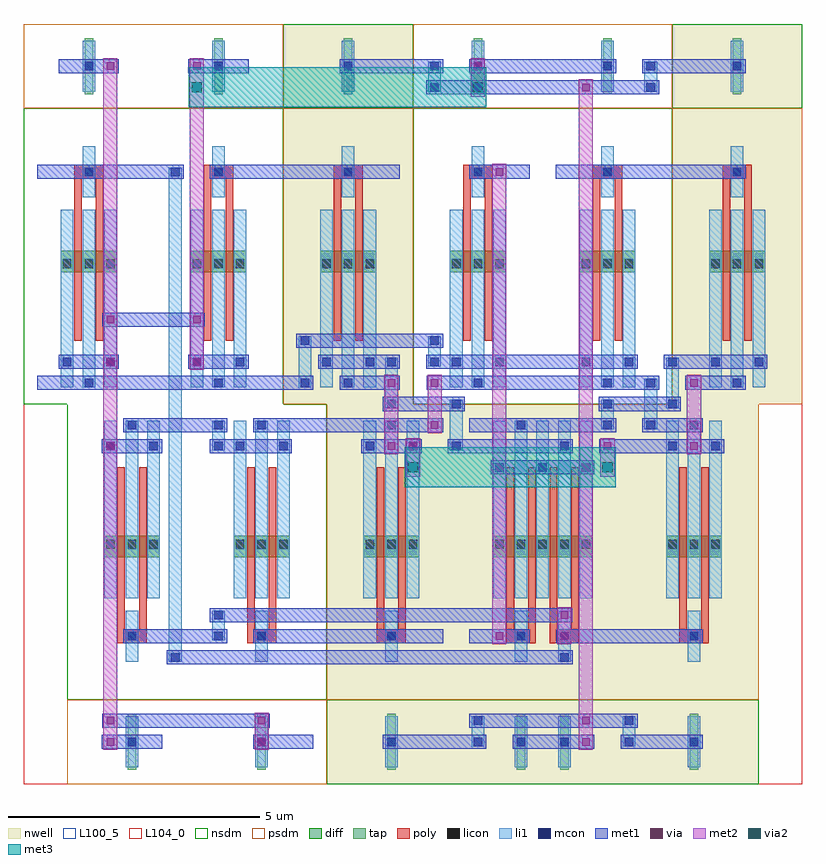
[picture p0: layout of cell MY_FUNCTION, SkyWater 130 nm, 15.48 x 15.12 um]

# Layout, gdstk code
import gdstk
lib = gdstk.Library(unit=1e-6, precision=1e-09)
def R(c, l, rs):  # rectangles x0, y0, x1, y1
    for r in rs: c.add(gdstk.rectangle(r[:2], r[2:], *l))
def A(c, l, x, y, w, h, nx, ny, dx, dy):  # array of equal rectangles
    R(c, l, [(x+i*dx, y+j*dy, x+i*dx+w, y+j*dy+h) for i in range(nx) for j in range(ny)])
nwell = (64, 20)
diff = (65, 20)
tap = (65, 44)
poly = (66, 20)
licon = (66, 44)
li1 = (67, 20)
mcon = (67, 44)
met1 = (68, 20)
via = (68, 44)
met2 = (69, 20)
via2 = (69, 44)
met3 = (70, 20)
nsdm = (93, 44)
psdm = (94, 20)
L100_5 = (100, 5)
L104_0 = (104, 0)

my_function = lib.new_cell('MY_FUNCTION')
R(my_function, nwell, [(6.02,0,8.6,7.56), (8.6,0,12.04,7.56), (12.04,0,14.62,7.56), (5.16,7.56,7.74,15.12), (12.9,7.56,15.48,15.12)])
A(my_function, diff, 1.595, 4.515, 1.11, 0.42, 3, 1, 2.58, 0)
A(my_function, diff, 0.735, 10.185, 1.11, 0.42, 6, 1, 2.58, 0)
R(my_function, diff, [(9.335,4.515,11.305,4.935), (12.775,4.515,13.885,4.935)])
A(my_function, tap, 2.065, 0.28, 0.17, 1.12, 4, 1, 2.58, 0)
A(my_function, tap, 1.205, 13.72, 0.17, 1.12, 6, 1, 2.58, 0)
R(my_function, tap, [(10.665,0.28,10.835,1.4), (13.245,0.28,13.415,1.4)])
A(my_function, poly, 1.86, 2.805, 0.58, 0.27, 4, 1, 2.58, 0)
A(my_function, poly, 9.6, 2.94, 0.15, 3.36, 4, 1, 0.43, 0)
A(my_function, poly, 1, 12.045, 0.58, 0.27, 6, 1, 2.58, 0)
R(my_function, poly, [(10.46,2.805,11.04,3.075), (13.04,2.805,13.62,3.075), (1.86,2.94,2.01,6.3), (2.29,2.94,2.44,6.3), (4.44,2.94,4.59,6.3), (4.87,2.94,5.02,6.3), (7.02,2.94,7.17,6.3), (7.45,2.94,7.6,6.3), (13.04,2.94,13.19,6.3), (13.47,2.94,13.62,6.3), (1,8.82,1.15,12.18), (1.43,8.82,1.58,12.18), (3.58,8.82,3.73,12.18), (4.01,8.82,4.16,12.18), (6.16,8.82,6.31,12.18), (6.59,8.82,6.74,12.18), (8.74,8.82,8.89,12.18), (9.17,8.82,9.32,12.18), (11.32,8.82,11.47,12.18), (11.75,8.82,11.9,12.18), (13.9,8.82,14.05,12.18), (14.33,8.82,14.48,12.18)])
A(my_function, licon, 2.065, 0.755, 0.17, 0.17, 4, 2, 2.58, 2.1)
A(my_function, licon, 1.635, 4.685, 0.17, 0.17, 3, 1, 0.43, 0)
A(my_function, licon, 4.215, 4.685, 0.17, 0.17, 3, 1, 0.43, 0)
A(my_function, licon, 6.795, 4.685, 0.17, 0.17, 3, 1, 0.43, 0)
A(my_function, licon, 9.375, 4.685, 0.17, 0.17, 3, 1, 0.43, 0)
A(my_function, licon, 10.235, 4.685, 0.17, 0.17, 3, 1, 0.43, 0)
A(my_function, licon, 12.815, 4.685, 0.17, 0.17, 3, 1, 0.43, 0)
A(my_function, licon, 0.775, 10.265, 0.17, 0.17, 3, 1, 0.43, 0)
A(my_function, licon, 3.355, 10.265, 0.17, 0.17, 3, 1, 0.43, 0)
A(my_function, licon, 5.935, 10.265, 0.17, 0.17, 3, 1, 0.43, 0)
A(my_function, licon, 8.515, 10.265, 0.17, 0.17, 3, 1, 0.43, 0)
A(my_function, licon, 11.095, 10.265, 0.17, 0.17, 3, 1, 0.43, 0)
A(my_function, licon, 13.675, 10.265, 0.17, 0.17, 3, 1, 0.43, 0)
A(my_function, licon, 1.205, 12.095, 0.17, 0.17, 6, 2, 2.58, 2.1)
R(my_function, licon, [(10.665,0.755,10.835,0.925), (13.245,0.755,13.415,0.925), (10.665,2.855,10.835,3.025), (13.245,2.855,13.415,3.025)])
A(my_function, li1, 2.025, 0.335, 0.25, 1.01, 4, 2, 2.58, 2.1)
A(my_function, li1, 1.595, 3.695, 0.25, 3.53, 3, 1, 0.43, 0)
A(my_function, li1, 4.175, 3.695, 0.25, 3.53, 3, 1, 0.43, 0)
A(my_function, li1, 6.755, 3.695, 0.25, 3.53, 3, 1, 0.43, 0)
A(my_function, li1, 9.335, 3.695, 0.25, 3.53, 5, 1, 0.43, 0)
A(my_function, li1, 12.775, 3.695, 0.25, 3.53, 3, 1, 0.43, 0)
A(my_function, li1, 0.735, 7.895, 0.25, 3.53, 3, 1, 0.43, 0)
A(my_function, li1, 3.315, 7.895, 0.25, 3.53, 3, 1, 0.43, 0)
A(my_function, li1, 5.895, 7.895, 0.25, 3.53, 3, 1, 0.43, 0)
A(my_function, li1, 8.475, 7.895, 0.25, 3.53, 3, 1, 0.43, 0)
A(my_function, li1, 11.055, 7.895, 0.25, 3.53, 3, 1, 0.43, 0)
A(my_function, li1, 13.635, 7.895, 0.25, 3.53, 3, 1, 0.43, 0)
A(my_function, li1, 1.165, 11.675, 0.25, 1.01, 6, 2, 2.58, 2.1)
R(my_function, li1, [(10.625,0.335,10.875,1.345), (13.205,0.335,13.455,1.345), (8.905,0.755,9.155,1.345), (11.915,0.755,12.165,1.345), (2.885,2.435,3.135,12.265), (10.625,2.435,10.875,3.445), (13.205,2.435,13.455,3.445), (3.745,2.855,3.995,3.445), (3.745,6.635,3.995,7.225), (8.475,6.635,8.725,7.645), (11.485,7.055,11.735,7.645), (12.345,7.055,12.595,8.065), (7.185,7.475,7.435,8.485), (12.775,7.475,13.025,8.485), (5.465,7.895,5.715,8.905), (8.045,8.315,8.295,8.905), (8.045,13.775,8.295,14.365), (12.345,13.775,12.595,14.365)])
A(my_function, mcon, 2.065, 0.755, 0.17, 0.17, 3, 1, 2.58, 0)
A(my_function, mcon, 8.945, 0.755, 0.17, 0.17, 3, 1, 0.86, 0)
A(my_function, mcon, 4.645, 2.855, 0.17, 0.17, 3, 2, 2.58, 4.2)
A(my_function, mcon, 9.375, 6.215, 0.17, 0.17, 3, 1, 0.86, 0)
A(my_function, mcon, 6.795, 6.635, 0.17, 0.17, 3, 1, 0.86, 0)
A(my_function, mcon, 11.525, 7.055, 0.17, 0.17, 3, 1, 0.86, 0)
A(my_function, mcon, 6.365, 7.895, 0.17, 0.17, 3, 1, 2.58, 0)
A(my_function, mcon, 11.095, 8.315, 0.17, 0.17, 5, 1, 0.86, 0)
A(my_function, mcon, 3.785, 12.095, 0.17, 0.17, 5, 1, 2.58, 0)
A(my_function, mcon, 1.205, 14.195, 0.17, 0.17, 3, 1, 2.58, 0)
R(my_function, mcon, [(11.955,0.755,12.125,0.925), (13.245,0.755,13.415,0.925), (8.945,1.175,9.115,1.345), (11.955,1.175,12.125,1.345), (2.925,2.435,3.095,2.605), (10.665,2.435,10.835,2.605), (2.065,2.855,2.235,3.025), (3.785,2.855,3.955,3.025), (13.245,2.855,13.415,3.025), (3.785,3.275,3.955,3.445), (1.635,6.635,1.805,6.805), (2.495,6.635,2.665,6.805), (3.785,6.635,3.955,6.805), (4.215,6.635,4.385,6.805), (5.075,6.635,5.245,6.805), (10.665,6.635,10.835,6.805), (12.815,6.635,12.985,6.805), (13.675,6.635,13.845,6.805), (2.065,7.055,2.235,7.225), (3.785,7.055,3.955,7.225), (7.225,7.475,7.395,7.645), (8.515,7.475,8.685,7.645), (11.525,7.475,11.695,7.645), (12.815,7.475,12.985,7.645), (1.205,7.895,1.375,8.065), (3.785,7.895,3.955,8.065), (5.505,7.895,5.675,8.065), (12.385,7.895,12.555,8.065), (14.105,7.895,14.275,8.065), (0.775,8.315,0.945,8.485), (1.635,8.315,1.805,8.485), (3.355,8.315,3.525,8.485), (4.215,8.315,4.385,8.485), (5.935,8.315,6.105,8.485), (6.795,8.315,6.965,8.485), (7.225,8.315,7.395,8.485), (8.085,8.315,8.255,8.485), (8.515,8.315,8.685,8.485), (9.375,8.315,9.545,8.485), (5.505,8.735,5.675,8.905), (8.085,8.735,8.255,8.905), (1.205,12.095,1.375,12.265), (2.925,12.095,3.095,12.265), (8.085,13.775,8.255,13.945), (12.385,13.775,12.555,13.945), (8.085,14.195,8.255,14.365), (8.945,14.195,9.115,14.365), (11.525,14.195,11.695,14.365), (12.385,14.195,12.555,14.365), (14.105,14.195,14.275,14.365)])
R(my_function, met1, [(1.55,0.7,2.75,0.98), (4.56,0.7,5.76,0.98), (7.14,0.7,9.2,0.98), (9.72,0.7,11.35,0.98), (11.87,0.7,13.5,0.98), (1.56,1.12,4.89,1.4), (8.86,1.12,12.21,1.4), (2.84,2.38,10.92,2.66), (1.98,2.8,4.04,3.08), (4.56,2.8,8.34,3.08), (8.86,2.8,10.06,3.08), (10.59,2.8,13.5,3.08), (3.7,3.22,10.91,3.5), (9.29,6.16,11.35,6.44), (1.55,6.58,2.75,6.86), (3.7,6.58,5.33,6.86), (6.71,6.58,7.91,6.86), (8.43,6.58,10.92,6.86), (11.45,6.58,13.93,6.86), (1.98,7,4.04,7.28), (4.56,7,8.34,7.28), (8.86,7,11.78,7.28), (12.3,7,13.5,7.28), (7.14,7.42,8.77,7.7), (11.44,7.42,13.07,7.7), (0.26,7.84,5.76,8.12), (6.28,7.84,7.48,8.12), (8.01,7.84,12.64,8.12), (13.16,7.84,14.36,8.12), (0.69,8.26,1.89,8.54), (3.27,8.26,4.47,8.54), (5.85,8.26,7.48,8.54), (8,8.26,12.21,8.54), (12.73,8.26,14.79,8.54), (5.42,8.68,8.34,8.96), (1.56,9.1,3.6,9.38), (0.26,12.04,3.18,12.32), (3.7,12.04,7.48,12.32), (8.86,12.04,10.06,12.32), (10.58,12.04,14.36,12.32), (8,13.72,12.64,14), (0.69,14.14,1.89,14.42), (3.27,14.14,4.47,14.42), (6.28,14.14,8.34,14.42), (8.86,14.14,11.78,14.42), (12.3,14.14,14.36,14.42)])
R(my_function, via, [(1.645,0.765,1.795,0.915), (4.655,0.765,4.805,0.915), (11.105,0.765,11.255,0.915), (1.645,1.185,1.795,1.335), (4.655,1.185,4.805,1.335), (11.105,1.185,11.255,1.335), (9.385,2.865,9.535,3.015), (10.675,2.865,10.825,3.015), (10.675,3.285,10.825,3.435), (11.105,6.225,11.255,6.375), (1.645,6.645,1.795,6.795), (7.235,6.645,7.385,6.795), (7.665,6.645,7.815,6.795), (11.535,6.645,11.685,6.795), (13.255,6.645,13.405,6.795), (8.095,7.065,8.245,7.215), (7.235,7.905,7.385,8.055), (8.095,7.905,8.245,8.055), (13.255,7.905,13.405,8.055), (1.645,8.325,1.795,8.475), (3.365,8.325,3.515,8.475), (1.645,9.165,1.795,9.315), (3.365,9.165,3.515,9.315), (9.385,12.105,9.535,12.255), (11.105,13.785,11.255,13.935), (1.645,14.205,1.795,14.355), (3.365,14.205,3.515,14.355), (8.955,14.205,9.105,14.355)])
R(my_function, met2, [(1.58,0.68,1.86,14.44), (4.59,0.68,4.87,1.42), (11.04,0.68,11.32,14.02), (9.32,2.78,9.6,12.34), (10.61,2.78,10.89,3.52), (7.6,6.115,7.88,6.88), (11.47,6.115,11.75,6.88), (7.17,6.56,7.45,8.14), (13.19,6.56,13.47,8.14), (8.03,6.98,8.31,8.14), (3.3,8.24,3.58,14.44), (8.89,13.675,9.17,14.44)])
R(my_function, via2, [(7.64,6.2,7.84,6.4), (11.51,6.2,11.71,6.4), (3.34,13.76,3.54,13.96), (8.93,13.76,9.13,13.96)])
R(my_function, met3, [(7.575,5.9,11.775,6.7), (3.275,13.46,9.195,14.26)])
R(my_function, nsdm, [(6.02,0,8.6,1.68), (8.6,0,12.04,1.68), (12.04,0,14.62,1.68), (0.86,1.68,3.44,7.56), (3.44,1.68,6.02,7.56), (0,7.56,2.58,13.44), (2.58,7.56,5.16,13.44), (7.74,7.56,10.32,13.44), (10.32,7.56,12.9,13.44), (5.16,13.44,7.74,15.12), (12.9,13.44,15.48,15.12)])
R(my_function, psdm, [(0.86,0,3.44,1.68), (3.44,0,6.02,1.68), (6.02,1.68,8.6,7.56), (8.6,1.68,12.04,7.56), (12.04,1.68,14.62,7.56), (5.16,7.56,7.74,13.44), (12.9,7.56,15.48,13.44), (0,13.44,2.58,15.12), (2.58,13.44,5.16,15.12), (7.74,13.44,10.32,15.12), (10.32,13.44,12.9,15.12)])
R(my_function, L100_5, [(0,0,15.48,15.12)])
R(my_function, L104_0, [(0,0,15.48,15.12)])

lib.write_gds('MY_FUNCTION.gds')
